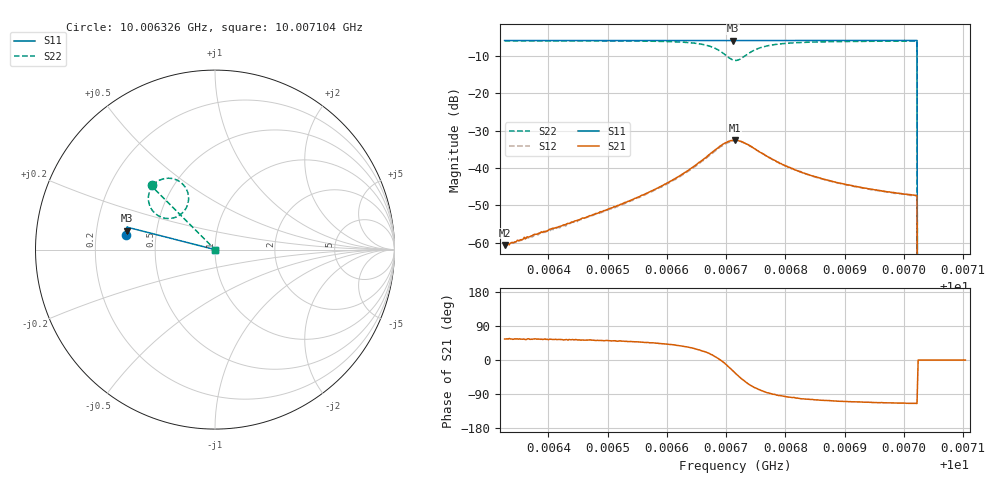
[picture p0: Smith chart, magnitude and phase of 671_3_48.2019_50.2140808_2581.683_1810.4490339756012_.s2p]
#  HZ  S  RI  R  50.00
! Rohde & Schwarz Vector Network Analyzer
! Rohde-Schwarz,ZNB20-2Port,1311601062101988,3.16
! Created: UTC 3/20/2024, 12:06:09 PM
! freq[Hz]  re:S11  im:S11  re:S21  im:S21  re:S12  im:S12  re:S22  im:S22
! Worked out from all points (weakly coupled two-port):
!   401 points, 10.006326 GHz to 10.007104 GHz, reference 50 ohm
!   highest |S21| = -32.55 dB at 10.006715 GHz (marker M1); lowest = -60.5 dB at 10.006326 GHz (marker M2)
!   lowest |S11| = -6.0 dB at 10.006711 GHz (marker M3), VSWR 3.02, Z = 16.7 + j4.71 ohm
!   |S11| at or under -10 dB: 10.007022 GHz to end of sweep
!   |S22| runs from - to -6.0 dB; largest |S21 - S12| = 0.0021
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1.0006326e10  -0.4974 0.081  0.000534 0.000775  0.000483 0.000766  -0.3487 0.3583
1.00063337e10  -0.4973 0.0816  0.000516 0.000791  0.000506 0.000838  -0.3481 0.3588
1.00064563e10  -0.496 0.0896  0.00129 0.00169  0.00116 0.0017  -0.334 0.3713
1.00065263e10  -0.4953 0.0943  0.00218 0.00258  0.00202 0.00261  -0.3201 0.3809
1.00065866e10  -0.4943 0.0984  0.00401 0.00382  0.00373 0.00393  -0.2978 0.3912
1.00066235e10  -0.4938 0.1009  0.00643 0.00487  0.00599 0.00506  -0.2711 0.3972
1.00066663e10  -0.4927 0.1038  0.013 0.00493  0.0124 0.0055  -0.207 0.3847
1.00066819e10  -0.4921 0.1046  0.0173 0.00256  0.0165 0.00366  -0.1719 0.3556
1.00066955e10  -0.4915 0.1051  0.0209 -0.00209  0.0204 -0.000816  -0.1487 0.3043
1.00067111e10  -0.491 0.1051  0.0207 -0.011  0.021 -0.00922  -0.1657 0.2236
1.00067149e10  -0.4912 0.1053  0.0195 -0.0132  0.02 -0.0113  -0.1799 0.2059
1.00067227e10  -0.4913 0.1053  0.0162 -0.0162  0.0172 -0.0149  -0.2168 0.1814
1.00067324e10  -0.4915 0.1056  0.0115 -0.018  0.0128 -0.0171  -0.2655 0.1734
1.00067461e10  -0.4921 0.1064  0.00592 -0.0175  0.00699 -0.017  -0.3177 0.1897
1.00067616e10  -0.4922 0.1076  0.00218 -0.0154  0.00295 -0.0152  -0.3501 0.2196
1.00067947e10  -0.4921 0.11  -0.00101 -0.0111  -0.00052 -0.0112  -0.37 0.2692
1.00068453e10  -0.4919 0.1137  -0.0019 -0.00765  -0.00157 -0.00764  -0.3688 0.3079
1.00069017e10  -0.4912 0.1173  -0.00202 -0.00568  -0.00174 -0.00575  -0.3625 0.329
1.00069756e10  -0.4901 0.1221  -0.00189 -0.00443  -0.0016 -0.00445  -0.3546 0.3444
1.00070184e10  -0.4895 0.1249  -0.00179 -0.00396  -0.00156 -0.00399  -0.3509 0.3506
1.00070281e10  0 0  0 0  0 0  0 0
1.00071039e10  0 0  0 0  0 0  0 0
